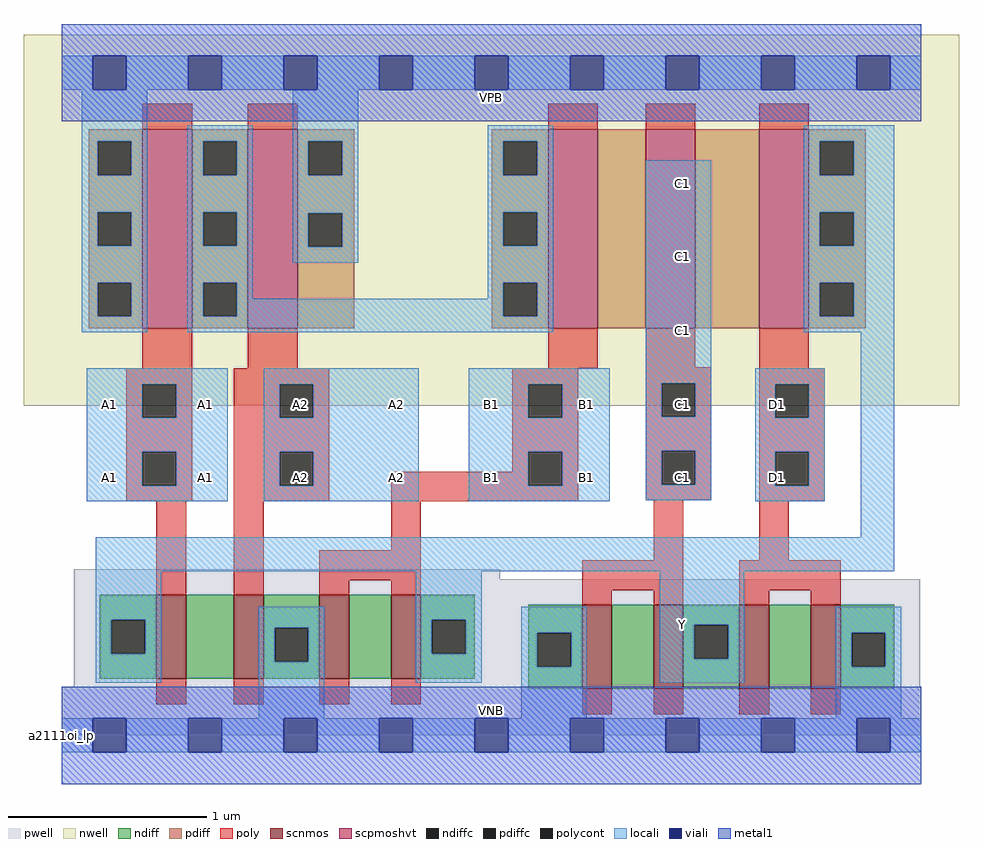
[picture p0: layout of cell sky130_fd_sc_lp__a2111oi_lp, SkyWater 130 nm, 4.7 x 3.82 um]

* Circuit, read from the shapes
.subckt sky130_fd_sc_lp__a2111oi_lp A1 A2 B1 C1 D1 VGND VNB VPB VPWR Y
XM1 n1 A1 Y VNB sky130_fd_pr__nfet_01v8 w=0.42 l=0.15
XM2 VGND A2 n1 VNB sky130_fd_pr__nfet_01v8 w=0.42 l=0.15
XM3 n2 B1 VGND VNB sky130_fd_pr__nfet_01v8 w=0.42 l=0.15
XM4 Y B1 n2 VNB sky130_fd_pr__nfet_01v8 w=0.42 l=0.15
XM5 n3 C1 VGND VNB sky130_fd_pr__nfet_01v8 w=0.42 l=0.15
XM6 Y C1 n3 VNB sky130_fd_pr__nfet_01v8 w=0.42 l=0.15
XM7 n4 D1 Y VNB sky130_fd_pr__nfet_01v8 w=0.42 l=0.15
XM8 VGND D1 n4 VNB sky130_fd_pr__nfet_01v8 w=0.42 l=0.15
XM9 n5 A1 VPWR VPB sky130_fd_pr__pfet_01v8_hvt w=1 l=0.25
XM10 VPWR A2 n5 VPB sky130_fd_pr__pfet_01v8_hvt w=1 l=0.25
XM11 n6 B1 n5 VPB sky130_fd_pr__pfet_01v8_hvt w=1 l=0.25
XM12 n7 C1 n6 VPB sky130_fd_pr__pfet_01v8_hvt w=1 l=0.25
XM13 Y D1 n7 VPB sky130_fd_pr__pfet_01v8_hvt w=1 l=0.25
.ends

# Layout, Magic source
magic
tech sky130A
magscale 1 2
<< nwell >>
rect -38 331 902 704
<< pwell >>
rect 12 157 441 167
rect 12 49 863 157
rect 0 0 864 49
<< scnmos >>
rect 95 57 125 141
rect 173 57 203 141
rect 259 57 289 141
rect 331 57 361 141
rect 523 47 553 131
rect 595 47 625 131
rect 681 47 711 131
rect 753 47 783 131
<< scpmoshvt >>
rect 81 409 131 609
rect 187 409 237 609
rect 489 409 539 609
rect 587 409 637 609
rect 701 409 751 609
<< ndiff >>
rect 38 116 95 141
rect 38 82 50 116
rect 84 82 95 116
rect 38 57 95 82
rect 125 57 173 141
rect 203 108 259 141
rect 203 74 214 108
rect 248 74 259 108
rect 203 57 259 74
rect 289 57 331 141
rect 361 116 415 141
rect 361 82 372 116
rect 406 82 415 116
rect 361 57 415 82
rect 469 103 523 131
rect 469 69 478 103
rect 512 69 523 103
rect 469 47 523 69
rect 553 47 595 131
rect 625 111 681 131
rect 625 77 636 111
rect 670 77 681 111
rect 625 47 681 77
rect 711 47 753 131
rect 783 103 837 131
rect 783 69 794 103
rect 828 69 837 103
rect 783 47 837 69
<< pdiff >>
rect 27 597 81 609
rect 27 563 36 597
rect 70 563 81 597
rect 27 526 81 563
rect 27 492 36 526
rect 70 492 81 526
rect 27 455 81 492
rect 27 421 36 455
rect 70 421 81 455
rect 27 409 81 421
rect 131 597 187 609
rect 131 563 142 597
rect 176 563 187 597
rect 131 526 187 563
rect 131 492 142 526
rect 176 492 187 526
rect 131 455 187 492
rect 131 421 142 455
rect 176 421 187 455
rect 131 409 187 421
rect 237 597 294 609
rect 237 563 248 597
rect 282 563 294 597
rect 237 525 294 563
rect 237 491 248 525
rect 282 491 294 525
rect 237 409 294 491
rect 432 597 489 609
rect 432 563 444 597
rect 478 563 489 597
rect 432 526 489 563
rect 432 492 444 526
rect 478 492 489 526
rect 432 455 489 492
rect 432 421 444 455
rect 478 421 489 455
rect 432 409 489 421
rect 539 409 587 609
rect 637 409 701 609
rect 751 597 808 609
rect 751 563 762 597
rect 796 563 808 597
rect 751 526 808 563
rect 751 492 762 526
rect 796 492 808 526
rect 751 455 808 492
rect 751 421 762 455
rect 796 421 808 455
rect 751 409 808 421
<< ndiffc >>
rect 50 82 84 116
rect 214 74 248 108
rect 372 82 406 116
rect 478 69 512 103
rect 636 77 670 111
rect 794 69 828 103
<< pdiffc >>
rect 36 563 70 597
rect 36 492 70 526
rect 36 421 70 455
rect 142 563 176 597
rect 142 492 176 526
rect 142 421 176 455
rect 248 563 282 597
rect 248 491 282 525
rect 444 563 478 597
rect 444 492 478 526
rect 444 421 478 455
rect 762 563 796 597
rect 762 492 796 526
rect 762 421 796 455
<< poly >>
rect 81 609 131 635
rect 187 609 237 635
rect 489 609 539 635
rect 587 609 637 635
rect 701 609 751 635
rect 81 369 131 409
rect 187 369 237 409
rect 489 369 539 409
rect 587 370 637 409
rect 65 353 131 369
rect 65 319 81 353
rect 115 319 131 353
rect 65 285 131 319
rect 65 251 81 285
rect 115 251 131 285
rect 65 235 131 251
rect 173 353 269 369
rect 173 319 219 353
rect 253 319 269 353
rect 173 285 269 319
rect 173 251 219 285
rect 253 251 269 285
rect 453 353 519 369
rect 453 319 469 353
rect 503 319 519 353
rect 453 285 519 319
rect 453 265 469 285
rect 173 235 269 251
rect 331 251 469 265
rect 503 251 519 285
rect 331 235 519 251
rect 587 354 653 370
rect 587 320 603 354
rect 637 320 653 354
rect 587 286 653 320
rect 587 252 603 286
rect 637 252 653 286
rect 587 236 653 252
rect 701 369 751 409
rect 701 353 767 369
rect 701 319 717 353
rect 751 319 767 353
rect 701 285 767 319
rect 701 251 717 285
rect 751 251 767 285
rect 95 141 125 235
rect 173 141 203 235
rect 331 186 361 235
rect 259 156 361 186
rect 595 176 625 236
rect 701 235 767 251
rect 701 176 731 235
rect 259 141 289 156
rect 331 141 361 156
rect 523 146 625 176
rect 523 131 553 146
rect 595 131 625 146
rect 681 146 783 176
rect 681 131 711 146
rect 753 131 783 146
rect 95 31 125 57
rect 173 31 203 57
rect 259 31 289 57
rect 331 31 361 57
rect 523 21 553 47
rect 595 21 625 47
rect 681 21 711 47
rect 753 21 783 47
<< polycont >>
rect 81 319 115 353
rect 81 251 115 285
rect 219 319 253 353
rect 219 251 253 285
rect 469 319 503 353
rect 469 251 503 285
rect 603 320 637 354
rect 603 252 637 286
rect 717 319 751 353
rect 717 251 751 285
<< locali >>
rect 0 649 31 683
rect 65 649 127 683
rect 161 649 223 683
rect 257 649 319 683
rect 353 649 415 683
rect 449 649 511 683
rect 545 649 607 683
rect 641 649 703 683
rect 737 649 799 683
rect 833 649 864 683
rect 20 597 86 649
rect 20 563 36 597
rect 70 563 86 597
rect 20 526 86 563
rect 20 492 36 526
rect 70 492 86 526
rect 20 455 86 492
rect 20 421 36 455
rect 70 421 86 455
rect 20 405 86 421
rect 126 597 192 613
rect 126 563 142 597
rect 176 563 192 597
rect 126 526 192 563
rect 126 492 142 526
rect 176 492 192 526
rect 126 455 192 492
rect 232 597 298 649
rect 232 563 248 597
rect 282 563 298 597
rect 232 525 298 563
rect 232 491 248 525
rect 282 491 298 525
rect 232 475 298 491
rect 428 597 494 613
rect 428 563 444 597
rect 478 563 494 597
rect 746 597 837 613
rect 428 526 494 563
rect 428 492 444 526
rect 478 492 494 526
rect 126 421 142 455
rect 176 439 192 455
rect 428 455 494 492
rect 428 439 444 455
rect 176 421 444 439
rect 478 421 494 455
rect 126 405 494 421
rect 25 353 167 369
rect 25 319 81 353
rect 115 319 167 353
rect 25 285 167 319
rect 25 251 81 285
rect 115 251 167 285
rect 25 235 167 251
rect 203 353 359 369
rect 203 319 219 353
rect 253 319 359 353
rect 203 285 359 319
rect 203 251 219 285
rect 253 251 359 285
rect 203 235 359 251
rect 409 353 551 369
rect 409 319 469 353
rect 503 319 551 353
rect 409 285 551 319
rect 409 251 469 285
rect 503 251 551 285
rect 409 235 551 251
rect 587 354 653 578
rect 746 563 762 597
rect 796 563 837 597
rect 746 526 837 563
rect 746 492 762 526
rect 796 492 837 526
rect 746 455 837 492
rect 746 421 762 455
rect 796 421 837 455
rect 746 405 837 421
rect 587 320 603 354
rect 637 320 653 354
rect 587 286 653 320
rect 587 252 603 286
rect 637 252 653 286
rect 587 236 653 252
rect 697 353 767 369
rect 697 319 717 353
rect 751 319 767 353
rect 697 285 767 319
rect 697 251 717 285
rect 751 251 767 285
rect 697 235 767 251
rect 803 199 837 405
rect 34 165 837 199
rect 34 116 100 165
rect 34 82 50 116
rect 84 82 100 116
rect 34 53 100 82
rect 198 108 264 129
rect 198 74 214 108
rect 248 74 264 108
rect 198 17 264 74
rect 356 116 422 165
rect 356 82 372 116
rect 406 82 422 116
rect 356 53 422 82
rect 462 103 528 129
rect 462 69 478 103
rect 512 69 528 103
rect 462 17 528 69
rect 601 111 686 165
rect 601 77 636 111
rect 670 77 686 111
rect 601 53 686 77
rect 778 103 844 129
rect 778 69 794 103
rect 828 69 844 103
rect 778 17 844 69
rect 0 -17 31 17
rect 65 -17 127 17
rect 161 -17 223 17
rect 257 -17 319 17
rect 353 -17 415 17
rect 449 -17 511 17
rect 545 -17 607 17
rect 641 -17 703 17
rect 737 -17 799 17
rect 833 -17 864 17
<< viali >>
rect 31 649 65 683
rect 127 649 161 683
rect 223 649 257 683
rect 319 649 353 683
rect 415 649 449 683
rect 511 649 545 683
rect 607 649 641 683
rect 703 649 737 683
rect 799 649 833 683
rect 31 -17 65 17
rect 127 -17 161 17
rect 223 -17 257 17
rect 319 -17 353 17
rect 415 -17 449 17
rect 511 -17 545 17
rect 607 -17 641 17
rect 703 -17 737 17
rect 799 -17 833 17
<< metal1 >>
rect 0 683 864 715
rect 0 649 31 683
rect 65 649 127 683
rect 161 649 223 683
rect 257 649 319 683
rect 353 649 415 683
rect 449 649 511 683
rect 545 649 607 683
rect 641 649 703 683
rect 737 649 799 683
rect 833 649 864 683
rect 0 617 864 649
rect 0 17 864 49
rect 0 -17 31 17
rect 65 -17 127 17
rect 161 -17 223 17
rect 257 -17 319 17
rect 353 -17 415 17
rect 449 -17 511 17
rect 545 -17 607 17
rect 641 -17 703 17
rect 737 -17 799 17
rect 833 -17 864 17
rect 0 -49 864 -17
<< labels >>
flabel pwell s 0 0 864 49 0 FreeSans 200 0 0 0 VNB
port 7 nsew ground bidirectional
flabel nwell s 0 617 864 666 0 FreeSans 200 0 0 0 VPB
port 8 nsew power bidirectional
rlabel comment s 0 0 0 0 4 a2111oi_lp
flabel metal1 s 0 617 864 666 0 FreeSans 340 0 0 0 VPWR
port 9 nsew power bidirectional
flabel metal1 s 0 0 864 49 0 FreeSans 340 0 0 0 VGND
port 6 nsew ground bidirectional
flabel locali s 703 242 737 276 0 FreeSans 340 0 0 0 D1
port 5 nsew signal input
flabel locali s 703 316 737 350 0 FreeSans 340 0 0 0 D1
port 5 nsew signal input
flabel locali s 607 242 641 276 0 FreeSans 340 0 0 0 C1
port 4 nsew signal input
flabel locali s 607 316 641 350 0 FreeSans 340 0 0 0 C1
port 4 nsew signal input
flabel locali s 607 390 641 424 0 FreeSans 340 0 0 0 C1
port 4 nsew signal input
flabel locali s 607 464 641 498 0 FreeSans 340 0 0 0 C1
port 4 nsew signal input
flabel locali s 607 538 641 572 0 FreeSans 340 0 0 0 C1
port 4 nsew signal input
flabel locali s 415 242 449 276 0 FreeSans 340 0 0 0 B1
port 3 nsew signal input
flabel locali s 415 316 449 350 0 FreeSans 340 0 0 0 B1
port 3 nsew signal input
flabel locali s 511 242 545 276 0 FreeSans 340 0 0 0 B1
port 3 nsew signal input
flabel locali s 511 316 545 350 0 FreeSans 340 0 0 0 B1
port 3 nsew signal input
flabel locali s 223 242 257 276 0 FreeSans 340 0 0 0 A2
port 2 nsew signal input
flabel locali s 223 316 257 350 0 FreeSans 340 0 0 0 A2
port 2 nsew signal input
flabel locali s 319 242 353 276 0 FreeSans 340 0 0 0 A2
port 2 nsew signal input
flabel locali s 319 316 353 350 0 FreeSans 340 0 0 0 A2
port 2 nsew signal input
flabel locali s 31 242 65 276 0 FreeSans 340 0 0 0 A1
port 1 nsew signal input
flabel locali s 31 316 65 350 0 FreeSans 340 0 0 0 A1
port 1 nsew signal input
flabel locali s 127 242 161 276 0 FreeSans 340 0 0 0 A1
port 1 nsew signal input
flabel locali s 127 316 161 350 0 FreeSans 340 0 0 0 A1
port 1 nsew signal input
flabel locali s 607 94 641 128 0 FreeSans 340 0 0 0 Y
port 10 nsew signal output
<< properties >>
string LEFsite unit
string LEFclass CORE
string FIXED_BBOX 0 0 864 666
string GDS_FILE $PDKPATH/libs.ref/sky130_fd_sc_lp/gds/sky130_fd_sc_lp.gds
string LEFsymmetry X Y R90
string GDS_END 4899722
string GDS_START 4890770
<< end >>
